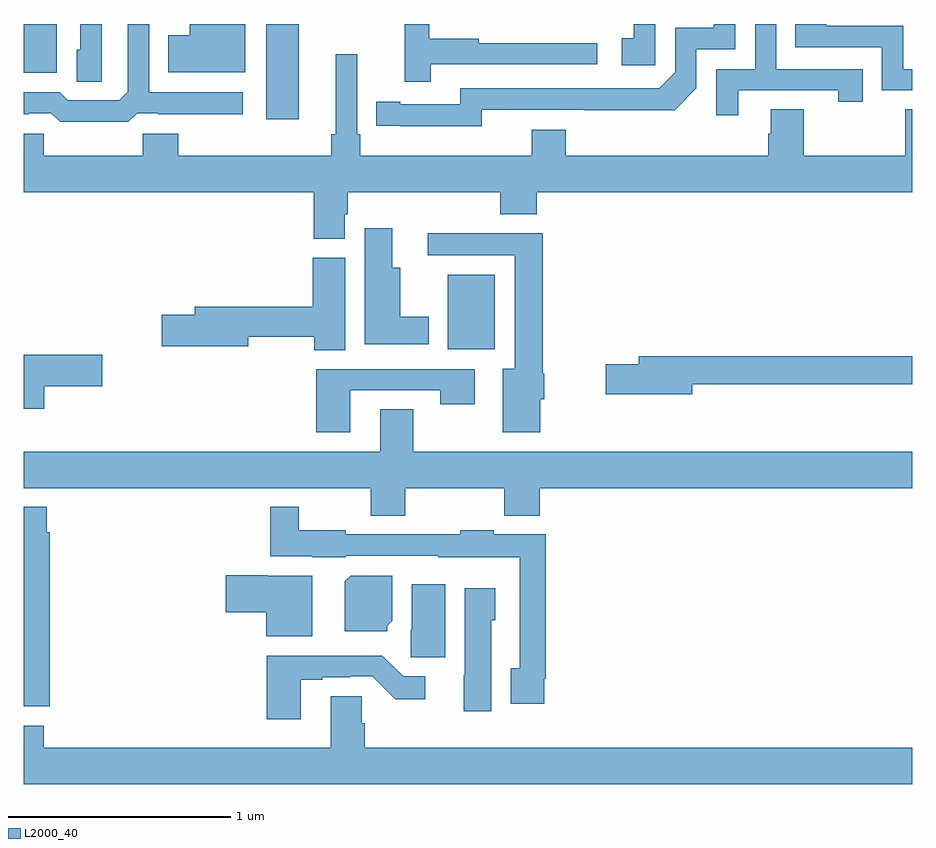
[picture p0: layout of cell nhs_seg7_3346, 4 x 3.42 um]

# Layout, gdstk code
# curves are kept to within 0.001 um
import gdstk
lib = gdstk.Library(unit=1e-6, precision=1e-09)
def R(c, l, rs):  # rectangles x0, y0, x1, y1
    for r in rs: c.add(gdstk.rectangle(r[:2], r[2:], *l))
def P(c, l, *ps):  # polygons
    for p in ps: c.add(gdstk.Polygon(p, *l))
L2000_40 = (2000, 40)

nhs_seg7_3346 = lib.new_cell('nhs_seg7_3346')
R(nhs_seg7_3346, L2000_40, [(324.908,1038.536,325.12,1038.871), (324.092,1039.572,324.238,1040), (323,1039.781,323.149,1040)])
P(nhs_seg7_3346, L2000_40, [(325.062,1039.614),(325.93,1039.613),(326.028,1039.71),(326.028,1039.887),(326.202,1039.887),(326.202,1040),(326.105,1040),(326.105,1039.983),(325.932,1039.983),(325.932,1039.782),(325.86,1039.71),(324.966,1039.71),(324.966,1039.638),(324.694,1039.638),(324.694,1039.651),(324.586,1039.651),(324.586,1039.542),(325.062,1039.541)],
  [(323.511,1039.599),(323.605,1039.599),(323.605,1039.595),(323.986,1039.595),(323.986,1039.692),(323.565,1039.692),(323.565,1040),(323.469,1040),(323.469,1039.695),(323.43,1039.656),(323.199,1039.656),(323.163,1039.692),(323,1039.692),(323,1039.595),(323.024,1039.595),(323.024,1039.599),(323.124,1039.599),(323.164,1039.56),(323.471,1039.56)],
  [(324.833,1039.818),(325.582,1039.818),(325.582,1039.914),(325.049,1039.914),(325.049,1039.934),(324.826,1039.934),(324.826,1040),(324.716,1040),(324.716,1039.74),(324.833,1039.74)],
  [(327,1039.797),(326.958,1039.797),(326.958,1039.992),(326.613,1039.992),(326.613,1040),(326.473,1040),(326.473,1039.896),(326.862,1039.896),(326.862,1039.701),(327,1039.701)],
  [(326.215,1039.701),(326.666,1039.701),(326.666,1039.65),(326.777,1039.65),(326.777,1039.797),(326.388,1039.797),(326.388,1040),(326.292,1040),(326.292,1039.797),(326.118,1039.797),(326.118,1039.59),(326.215,1039.59)],
  [(323.998,1040),(323.747,1040),(323.747,1039.95),(323.65,1039.95),(323.65,1039.784),(323.998,1039.784)],
  [(323.352,1040),(323.256,1040),(323.256,1039.884),(323.24,1039.884),(323.24,1039.741),(323.352,1039.741)],
  [(325.842,1040),(325.745,1040),(325.745,1039.935),(325.692,1039.935),(325.692,1039.815),(325.842,1039.815)],
  [(324.445,1039.143),(324.458,1039.143),(324.458,1039.244),(325.145,1039.244),(325.145,1039.145),(325.31,1039.145),(325.31,1039.244),(327,1039.244),(327,1039.616),(326.968,1039.616),(326.968,1039.408),(326.511,1039.408),(326.511,1039.616),(326.363,1039.616),(326.363,1039.506),(326.351,1039.506),(326.351,1039.408),(325.439,1039.408),(325.439,1039.525),(325.286,1039.525),(325.286,1039.408),(324.515,1039.408),(324.515,1039.504),(324.501,1039.504),(324.501,1039.864),(324.404,1039.864),(324.404,1039.504),(324.385,1039.504),(324.385,1039.408),(323.696,1039.408),(323.696,1039.506),(323.536,1039.506),(323.536,1039.408),(323.091,1039.408),(323.091,1039.506),(323,1039.506),(323,1039.244),(324.305,1039.244),(324.305,1039.033),(324.445,1039.033)],
  [(324.823,1038.682),(324.694,1038.682),(324.694,1038.904),(324.658,1038.904),(324.658,1039.081),(324.536,1039.081),(324.536,1038.56),(324.823,1038.56)],
  [(325.324,1038.312),(325.342,1038.312),(325.342,1038.426),(325.337,1038.426),(325.337,1039.058),(324.819,1039.058),(324.819,1038.96),(325.211,1038.96),(325.211,1038.448),(325.157,1038.448),(325.157,1038.162),(325.324,1038.162)],
  [(324.448,1038.948),(324.302,1038.948),(324.302,1038.728),(323.771,1038.728),(323.771,1038.692),(323.622,1038.692),(323.622,1038.55),(324.01,1038.55),(324.01,1038.592),(324.307,1038.592),(324.307,1038.532),(324.448,1038.532)],
  [(323.092,1038.37),(323.353,1038.37),(323.353,1038.512),(323,1038.512),(323,1038.269),(323.092,1038.269)],
  [(326.008,1038.378),(327,1038.378),(327,1038.506),(325.769,1038.506),(325.769,1038.47),(325.62,1038.47),(325.62,1038.335),(326.008,1038.335)],
  [(324.469,1038.351),(324.874,1038.351),(324.874,1038.288),(325.03,1038.288),(325.03,1038.447),(324.317,1038.447),(324.317,1038.162),(324.469,1038.162)],
  [(324.717,1037.912),(325.162,1037.912),(325.162,1037.788),(325.322,1037.788),(325.322,1037.912),(327,1037.912),(327,1038.076),(324.753,1038.076),(324.753,1038.266),(324.605,1038.266),(324.605,1038.076),(323,1038.076),(323,1037.912),(324.562,1037.912),(324.562,1037.788),(324.717,1037.788)],
  [(323.117,1037.714),(323.104,1037.714),(323.104,1037.827),(323,1037.827),(323,1036.93),(323.117,1036.93)],
  [(325.342,1037.053),(325.349,1037.053),(325.349,1037.703),(325.116,1037.703),(325.116,1037.721),(324.966,1037.721),(324.966,1037.703),(324.45,1037.703),(324.45,1037.722),(324.238,1037.722),(324.238,1037.827),(324.109,1037.827),(324.109,1037.606),(324.3,1037.606),(324.3,1037.6),(324.45,1037.6),(324.45,1037.607),(324.867,1037.607),(324.867,1037.6),(325.233,1037.6),(325.233,1037.102),(325.193,1037.102),(325.193,1036.941),(325.342,1036.941)],
  [(324.298,1037.518),(324.096,1037.518),(324.096,1037.52),(323.91,1037.52),(323.91,1037.354),(324.092,1037.354),(324.092,1037.246),(324.298,1037.246)],
  [(324.636,1037.292),(324.658,1037.314),(324.658,1037.518),(324.472,1037.518),(324.446,1037.492),(324.446,1037.267),(324.636,1037.267)],
  [(324.898,1037.478),(324.746,1037.478),(324.746,1037.274),(324.742,1037.274),(324.742,1037.151),(324.898,1037.151)],
  [(325.105,1037.316),(325.123,1037.316),(325.123,1037.461),(324.986,1037.461),(324.986,1037.07),(324.98,1037.07),(324.98,1036.908),(325.105,1036.908)],
  [(324.247,1037.049),(324.343,1037.049),(324.343,1037.061),(324.47,1037.061),(324.47,1037.064),(324.57,1037.064),(324.673,1036.962),(324.808,1036.962),(324.808,1037.064),(324.708,1037.064),(324.614,1037.158),(324.095,1037.158),(324.095,1036.872),(324.247,1036.872)],
  [(327,1036.744),(324.536,1036.744),(324.536,1036.854),(324.522,1036.854),(324.522,1036.976),(324.383,1036.976),(324.383,1036.744),(323.09,1036.744),(323.09,1036.843),(323,1036.843),(323,1036.58),(327,1036.58)])

lib.write_gds('nhs_seg7_3346.gds')
